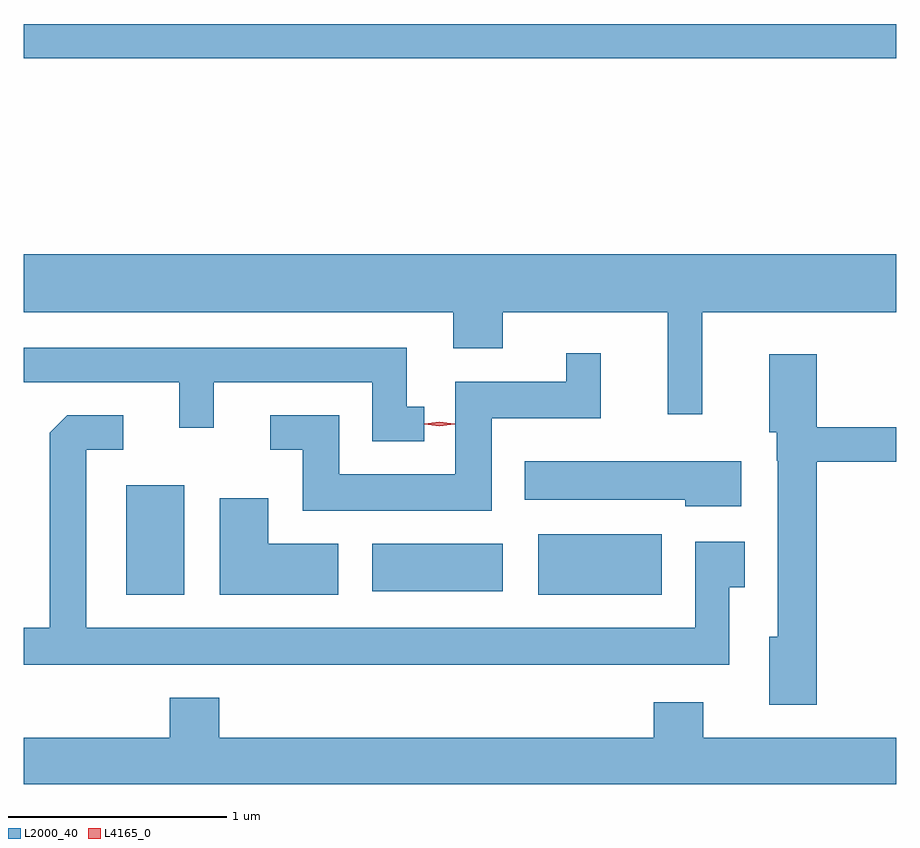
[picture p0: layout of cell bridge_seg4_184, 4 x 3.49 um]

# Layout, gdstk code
import gdstk
lib = gdstk.Library(unit=1e-6, precision=1e-09)
def R(c, l, rs):  # rectangles x0, y0, x1, y1
    for r in rs: c.add(gdstk.rectangle(r[:2], r[2:], *l))
def P(c, l, *ps):  # polygons
    for p in ps: c.add(gdstk.Polygon(p, *l))
L2000_40 = (2000, 40)
L4165_0 = (4165, 0)

bridge_seg4_184 = lib.new_cell('bridge_seg4_184')
R(bridge_seg4_184, L2000_40, [(979.711,1264.581,979.979,1265.084), (981.601,1264.581,982.169,1264.859), (980.841,1264.596,981.439,1264.814), (979.243,1267.041,983.243,1267.199)])
P(bridge_seg4_184, L2000_40, [(982.354,1265.876),(983.243,1265.876),(983.243,1266.144),(979.243,1266.144),(979.243,1265.876),(981.211,1265.876),(981.211,1265.711),(981.439,1265.711),(981.439,1265.876),(982.196,1265.876),(982.196,1265.408),(982.354,1265.408)],
  [(981.078,1265.444),(980.999,1265.444),(980.999,1265.714),(979.243,1265.714),(979.243,1265.556),(979.956,1265.556),(979.956,1265.348),(980.114,1265.348),(980.114,1265.556),(980.841,1265.556),(980.841,1265.286),(981.078,1265.286)],
  [(981.389,1265.391),(981.889,1265.391),(981.889,1265.688),(981.731,1265.688),(981.731,1265.559),(981.221,1265.559),(981.221,1265.134),(980.689,1265.134),(980.689,1265.404),(980.373,1265.404),(980.373,1265.246),(980.521,1265.246),(980.521,1264.966),(981.389,1264.966)],
  [(982.879,1265.191),(983.243,1265.191),(983.243,1265.349),(982.879,1265.349),(982.879,1265.684),(982.661,1265.684),(982.661,1265.326),(982.696,1265.326),(982.696,1265.195),(982.701,1265.195),(982.701,1264.389),(982.661,1264.389),(982.661,1264.076),(982.879,1264.076)],
  [(982.479,1264.616),(982.549,1264.616),(982.549,1264.824),(982.321,1264.824),(982.321,1264.429),(979.529,1264.429),(979.529,1265.246),(979.698,1265.246),(979.698,1265.404),(979.442,1265.404),(979.361,1265.324),(979.361,1264.429),(979.243,1264.429),(979.243,1264.261),(982.479,1264.261)],
  [(982.534,1265.194),(981.541,1265.194),(981.541,1265.016),(982.276,1265.016),(982.276,1264.986),(982.534,1264.986)],
  [(980.684,1264.814),(980.364,1264.814),(980.364,1265.024),(980.141,1265.024),(980.141,1264.581),(980.684,1264.581)],
  [(983.243,1263.924),(982.359,1263.924),(982.359,1264.089),(982.131,1264.089),(982.131,1263.924),(980.139,1263.924),(980.139,1264.109),(979.911,1264.109),(979.911,1263.924),(979.243,1263.924),(979.243,1263.713),(983.243,1263.713)])
P(bridge_seg4_184, L4165_0, [(981.148,1265.355),(981.079,1265.364),(981.079,1265.365),(981.079,1265.366),(981.148,1265.375),(981.218,1265.365),(981.218,1265.364),(981.218,1265.364)])

lib.write_gds('bridge_seg4_184.gds')
